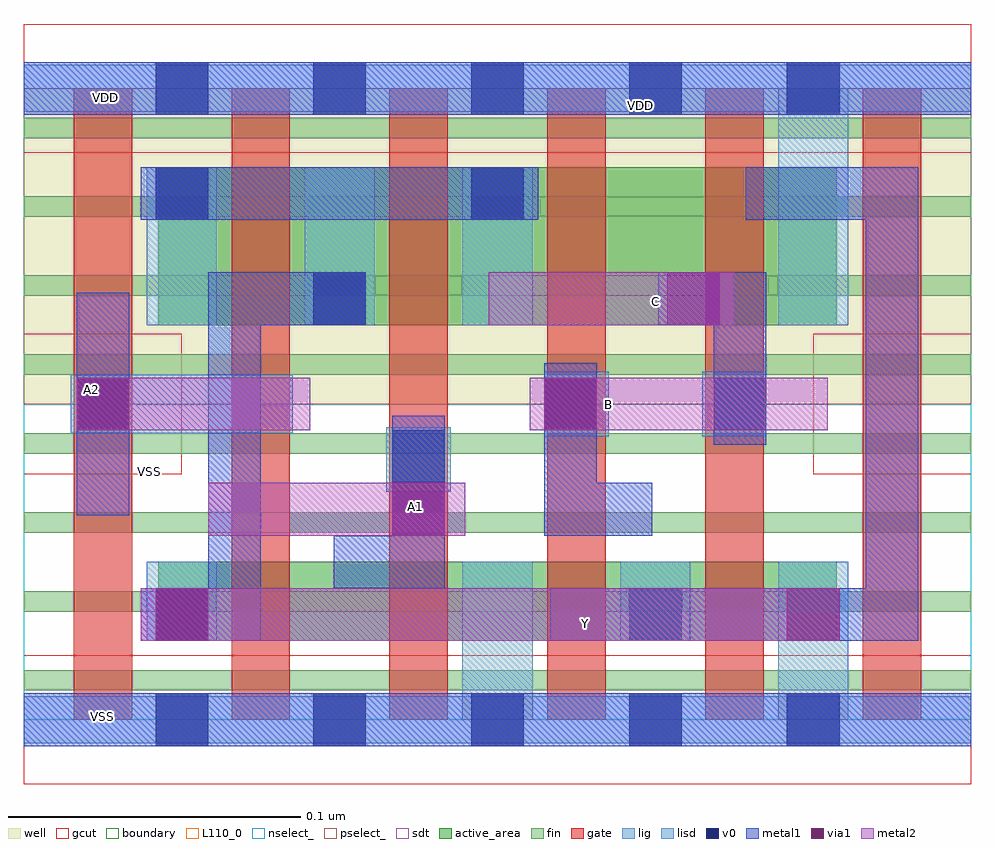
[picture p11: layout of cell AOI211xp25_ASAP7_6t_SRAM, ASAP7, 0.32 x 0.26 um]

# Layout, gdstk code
import gdstk
lib = gdstk.Library(unit=1e-6, precision=2.5e-10)
def R(c, l, rs):  # rectangles x0, y0, x1, y1
    for r in rs: c.add(gdstk.rectangle(r[:2], r[2:], *l))
def A(c, l, x, y, w, h, nx, ny, dx, dy):  # array of equal rectangles
    R(c, l, [(x+i*dx, y+j*dy, x+i*dx+w, y+j*dy+h) for i in range(nx) for j in range(ny)])
def P(c, l, *ps):  # polygons
    for p in ps: c.add(gdstk.Polygon(p, *l))
well = (1, 0)
fin = (2, 0)
gate = (7, 0)
gcut = (10, 0)
active_area = (11, 0)
nselect_ = (12, 0)
pselect_ = (13, 0)
lig = (16, 0)
lisd = (17, 0)
v0 = (18, 0)
metal1 = (19, 0)
metal2 = (20, 0)
via1 = (21, 0)
sdt = (88, 0)
boundary = (100, 0)
L110_0 = (110, 0)

aoi211xp25_asap7_6t_sram = lib.new_cell('AOI211xp25_ASAP7_6t_SRAM')
R(aoi211xp25_asap7_6t_sram, well, [(0,0.108,0.324,0.216)])
A(aoi211xp25_asap7_6t_sram, fin, 0, 0.01, 0.324, 0.007, 1, 8, 0, 0.027)
A(aoi211xp25_asap7_6t_sram, gate, 0.017, 0, 0.02, 0.216, 6, 1, 0.054, 0)
R(aoi211xp25_asap7_6t_sram, gcut, [(0,-0.022,0.324,0.022), (0,0.084,0.054,0.132), (0.27,0.084,0.324,0.132), (0,0.194,0.324,0.238)])
R(aoi211xp25_asap7_6t_sram, active_area, [(0.046,0.027,0.278,0.054), (0.046,0.135,0.278,0.189)])
R(aoi211xp25_asap7_6t_sram, nselect_, [(0,0,0.324,0.108)])
R(aoi211xp25_asap7_6t_sram, pselect_, [(0,0.108,0.324,0.216)])
R(aoi211xp25_asap7_6t_sram, lig, [(0,-0.008,0.324,0.008), (0.124,0.078,0.146,0.1), (0.178,0.097,0.2,0.119), (0.232,0.097,0.254,0.119), (0.016,0.098,0.092,0.118), (0,0.208,0.324,0.224)])
A(aoi211xp25_asap7_6t_sram, lisd, 0.042, 0.135, 0.024, 0.054, 3, 1, 0.054, 0)
R(aoi211xp25_asap7_6t_sram, lisd, [(0.15,0,0.174,0.054), (0.258,0,0.282,0.054), (0.042,0.027,0.066,0.054), (0.204,0.027,0.228,0.054), (0.258,0.135,0.282,0.216)])
A(aoi211xp25_asap7_6t_sram, v0, 0.045, -0.009, 0.018, 0.018, 5, 2, 0.054, 0.216)
R(aoi211xp25_asap7_6t_sram, v0, [(0.045,0.027,0.063,0.045), (0.207,0.027,0.225,0.045), (0.207,0.027,0.225,0.045), (0.126,0.081,0.144,0.099), (0.018,0.099,0.036,0.117), (0.178,0.099,0.196,0.117), (0.236,0.099,0.254,0.117), (0.099,0.135,0.117,0.153), (0.045,0.171,0.063,0.189), (0.153,0.171,0.171,0.189)])
R(aoi211xp25_asap7_6t_sram, metal1, [(0,-0.009,0.324,0.009), (0.018,0.07,0.036,0.146), (0.04,0.171,0.176,0.189), (0,0.207,0.324,0.225)])
P(aoi211xp25_asap7_6t_sram, metal1, [(0.117,0.153),(0.063,0.153),(0.063,0.045),(0.04,0.045),(0.04,0.027),(0.081,0.027),(0.081,0.135),(0.117,0.135)],
  [(0.144,0.104),(0.126,0.104),(0.126,0.063),(0.106,0.063),(0.106,0.045),(0.144,0.045)],
  [(0.215,0.081),(0.196,0.081),(0.196,0.122),(0.178,0.122),(0.178,0.063),(0.215,0.063)],
  [(0.254,0.153),(0.217,0.153),(0.217,0.135),(0.236,0.135),(0.236,0.094),(0.254,0.094)],
  [(0.306,0.189),(0.247,0.189),(0.247,0.171),(0.288,0.171),(0.288,0.045),(0.18,0.045),(0.18,0.027),(0.306,0.027)])
R(aoi211xp25_asap7_6t_sram, metal2, [(0.04,0.027,0.279,0.045), (0.063,0.063,0.151,0.081), (0.018,0.099,0.098,0.117), (0.173,0.099,0.275,0.117), (0.159,0.135,0.243,0.153)])
R(aoi211xp25_asap7_6t_sram, via1, [(0.045,0.027,0.063,0.045), (0.261,0.027,0.279,0.045), (0.126,0.063,0.144,0.081), (0.018,0.099,0.036,0.117), (0.178,0.099,0.196,0.117), (0.22,0.135,0.238,0.153)])
A(aoi211xp25_asap7_6t_sram, sdt, 0.15, 0.027, 0.024, 0.027, 3, 1, 0.054, 0)
A(aoi211xp25_asap7_6t_sram, sdt, 0.042, 0.135, 0.024, 0.054, 3, 1, 0.054, 0)
R(aoi211xp25_asap7_6t_sram, sdt, [(0.042,0.027,0.066,0.054), (0.258,0.135,0.282,0.189)])
R(aoi211xp25_asap7_6t_sram, boundary, [(0,0,0.324,0.216)])
R(aoi211xp25_asap7_6t_sram, L110_0, [(0,0,0.324,0.216)])
aoi211xp25_asap7_6t_sram.add(gdstk.Label('VSS', (0.043,0.085), layer=3, texttype=251))
aoi211xp25_asap7_6t_sram.add(gdstk.Label('VDD', (0.211,0.21), layer=1, texttype=251))
aoi211xp25_asap7_6t_sram.add(gdstk.Label('VSS', (0.027,0.001), layer=19, texttype=251))
aoi211xp25_asap7_6t_sram.add(gdstk.Label('VDD', (0.028,0.213), layer=19, texttype=251))
aoi211xp25_asap7_6t_sram.add(gdstk.Label('Y', (0.192,0.033), layer=20, texttype=251))
aoi211xp25_asap7_6t_sram.add(gdstk.Label('A1', (0.134,0.073), layer=20, texttype=251))
aoi211xp25_asap7_6t_sram.add(gdstk.Label('B', (0.2,0.108), layer=20, texttype=251))
aoi211xp25_asap7_6t_sram.add(gdstk.Label('C', (0.216,0.143), layer=20, texttype=251))
aoi211xp25_asap7_6t_sram.add(gdstk.Label('A2', (0.023,0.113), layer=20, texttype=251))

lib.write_gds('AOI211xp25_ASAP7_6t_SRAM.gds')
